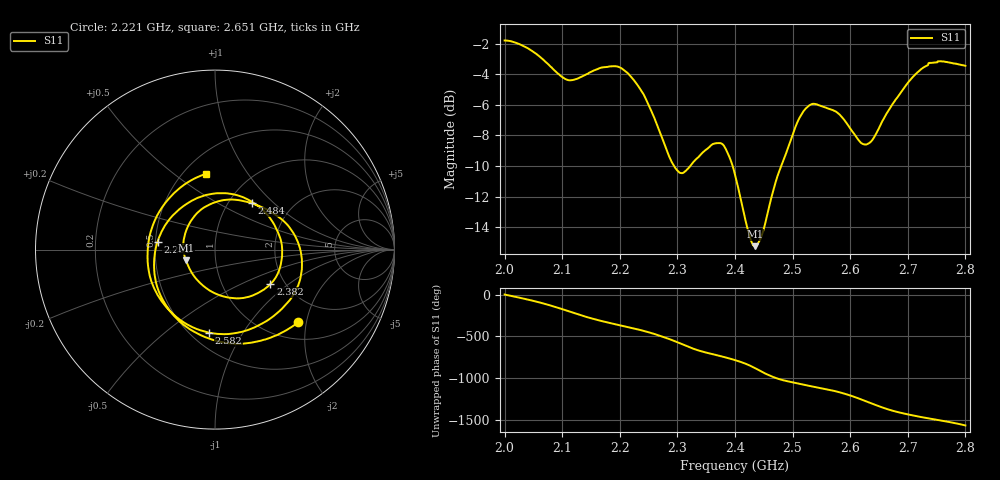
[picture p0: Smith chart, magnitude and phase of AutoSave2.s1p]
!Agilent N9923A: A.05.17
!Date: Sunday, 01 January 2006 12:13:31
!Model: N9923A
!Serial: MY50371189
!CHECKSUM:0256677246
!Correction: S11(ON U)
!S1P File: Measurement: S11:
# Hz S DB R 50
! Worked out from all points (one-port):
!   1001 points, 2 GHz to 2.8 GHz, reference 50 ohm
!   lowest |S11| = -15.2 dB at 2.434 GHz (marker M1), VSWR 1.42, Z = 35.8 - j4.23 ohm
!   |S11| at or under -10 dB: 2.294 GHz to 2.322 GHz (28.27 MHz wide, 1.22 % of centre); 2.396 GHz to 2.48 GHz (84.3 MHz wide, 3.46 % of centre)
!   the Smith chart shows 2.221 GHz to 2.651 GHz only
!   S11 on the Smith chart (normalised r, x): 2.221 GHz: 1.38, -1.79; 2.291 GHz: 0.51, +0.05; 2.382 GHz: 1.69, -0.75; 2.484 GHz: 1.28, +0.74; 2.582 GHz: 0.61, -0.72; 2.651 GHz: 0.64, +0.66
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2e9  -1.80 -0.1
2.0248e9  -2.02 -36.3
2.0544e9  -2.66 -83.8
2.0752e9  -3.33 -122.3
2.1e9  -4.19 -175.5
2.1256e9  -4.31 126.6
2.1456e9  -3.94 84.0
2.1736e9  -3.55 33.1
2.2e9  -3.56 -8.6
2.2208e9  -4.22 -41.0
2.2512e9  -6.11 -94.7
2.2912e9  -9.81 172.2
2.3e9  -10.30 147.7
2.3296e9  -9.66 65.3
2.3576e9  -8.68 10.8
2.3824e9  -8.79 -31.9
2.4e9  -10.55 -66.3
2.4344e9  -15.24 -160.6
2.484e9  -9.65 51.5
2.5e9  -7.97 26.8
2.5352e9  -5.95 -24.2
2.5824e9  -6.66 -94.0
2.6e9  -7.54 -130.6
2.6248e9  -8.59 167.2
2.6512e9  -7.43 97.0
2.7e9  -4.57 2.6
2.756e9  -3.15 -68.9
2.8e9  -3.45 -130.2
